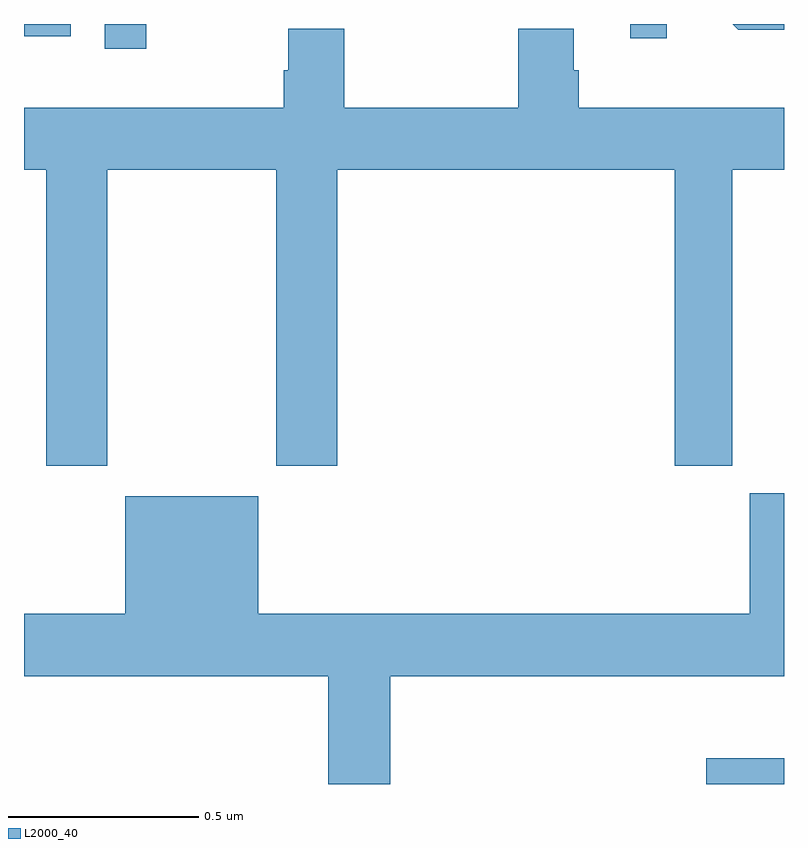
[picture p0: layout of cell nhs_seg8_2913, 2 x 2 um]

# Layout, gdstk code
import gdstk
lib = gdstk.Library(unit=1e-6, precision=1e-09)
def R(c, l, rs):  # rectangles x0, y0, x1, y1
    for r in rs: c.add(gdstk.rectangle(r[:2], r[2:], *l))
def P(c, l, *ps):  # polygons
    for p in ps: c.add(gdstk.Polygon(p, *l))
L2000_40 = (2000, 40)

nhs_seg8_2913 = lib.new_cell('nhs_seg8_2913')
R(nhs_seg8_2913, L2000_40, [(151.795,1098.9,152,1098.968), (150.213,1100.835,150.322,1100.9), (151.595,1100.862,151.692,1100.9), (150,1100.868,150.123,1100.9)])
P(nhs_seg8_2913, L2000_40, [(152,1100.9),(151.865,1100.9),(151.88,1100.885),(152,1100.885)],
  [(150.824,1100.516),(151.712,1100.516),(151.712,1099.737),(151.864,1099.737),(151.864,1100.516),(152,1100.516),(152,1100.68),(151.46,1100.68),(151.46,1100.778),(151.447,1100.778),(151.447,1100.888),(151.3,1100.888),(151.3,1100.68),(150.843,1100.68),(150.843,1100.888),(150.695,1100.888),(150.695,1100.778),(150.683,1100.778),(150.683,1100.68),(150,1100.68),(150,1100.516),(150.059,1100.516),(150.059,1099.737),(150.219,1099.737),(150.219,1100.516),(150.664,1100.516),(150.664,1099.737),(150.824,1099.737)],
  [(150.964,1099.184),(152,1099.184),(152,1099.665),(151.91,1099.665),(151.91,1099.348),(150.616,1099.348),(150.616,1099.657),(150.266,1099.657),(150.266,1099.348),(150,1099.348),(150,1099.184),(150.8,1099.184),(150.8,1098.9),(150.964,1098.9)])

lib.write_gds('nhs_seg8_2913.gds')
